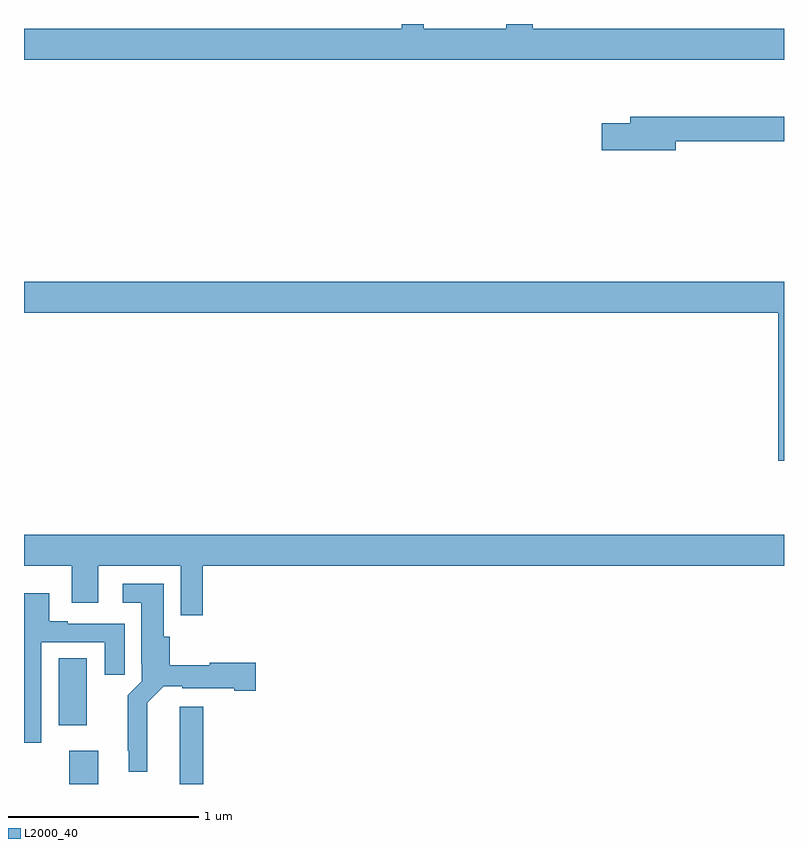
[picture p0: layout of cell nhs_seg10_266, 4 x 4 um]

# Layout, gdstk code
import gdstk
lib = gdstk.Library(unit=1e-6, precision=1e-09)
def R(c, l, rs):  # rectangles x0, y0, x1, y1
    for r in rs: c.add(gdstk.rectangle(r[:2], r[2:], *l))
def P(c, l, *ps):  # polygons
    for p in ps: c.add(gdstk.Polygon(p, *l))
L2000_40 = (2000, 40)

nhs_seg10_266 = lib.new_cell('nhs_seg10_266')
R(nhs_seg10_266, L2000_40, [(123.239,1300.5,123.391,1300.675), (123.821,1300.5,123.944,1300.906), (123.182,1300.809,123.331,1301.162)])
P(nhs_seg10_266, L2000_40, [(127,1304.476),(125.677,1304.476),(125.677,1304.5),(125.537,1304.5),(125.537,1304.476),(125.103,1304.476),(125.103,1304.5),(124.987,1304.5),(124.987,1304.476),(123,1304.476),(123,1304.312),(127,1304.312)],
  [(126.43,1303.882),(127,1303.882),(127,1304.011),(126.191,1304.011),(126.191,1303.977),(126.042,1303.977),(126.042,1303.835),(126.43,1303.835)],
  [(127,1303.144),(123,1303.144),(123,1302.98),(126.971,1302.98),(126.971,1302.201),(127,1302.201)],
  [(123.941,1301.648),(127,1301.648),(127,1301.812),(123,1301.812),(123,1301.648),(123.251,1301.648),(123.251,1301.454),(123.391,1301.454),(123.391,1301.648),(123.825,1301.648),(123.825,1301.388),(123.941,1301.388)],
  [(123.649,1300.928),(123.735,1301.015),(123.834,1301.015),(123.834,1301.003),(124.106,1301.003),(124.106,1300.991),(124.219,1300.991),(124.219,1301.138),(123.978,1301.138),(123.978,1301.125),(123.767,1301.125),(123.767,1301.274),(123.736,1301.274),(123.736,1301.554),(123.519,1301.554),(123.519,1301.453),(123.617,1301.453),(123.617,1301.134),(123.621,1301.134),(123.621,1301.04),(123.547,1300.966),(123.547,1300.675),(123.551,1300.675),(123.551,1300.565),(123.649,1300.565)],
  [(123.091,1301.247),(123.425,1301.247),(123.425,1301.076),(123.529,1301.076),(123.529,1301.343),(123.229,1301.343),(123.229,1301.356),(123.133,1301.356),(123.133,1301.503),(123,1301.503),(123,1300.716),(123.091,1300.716)])

lib.write_gds('nhs_seg10_266.gds')
